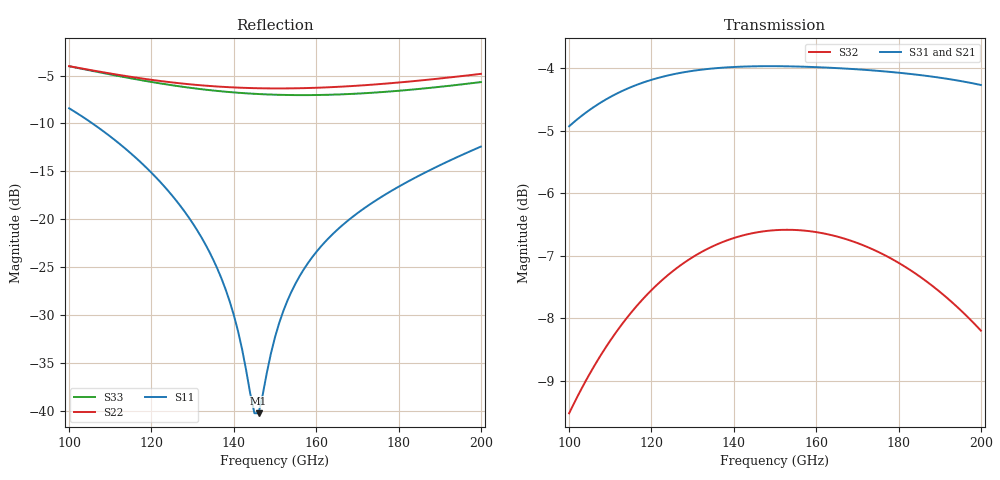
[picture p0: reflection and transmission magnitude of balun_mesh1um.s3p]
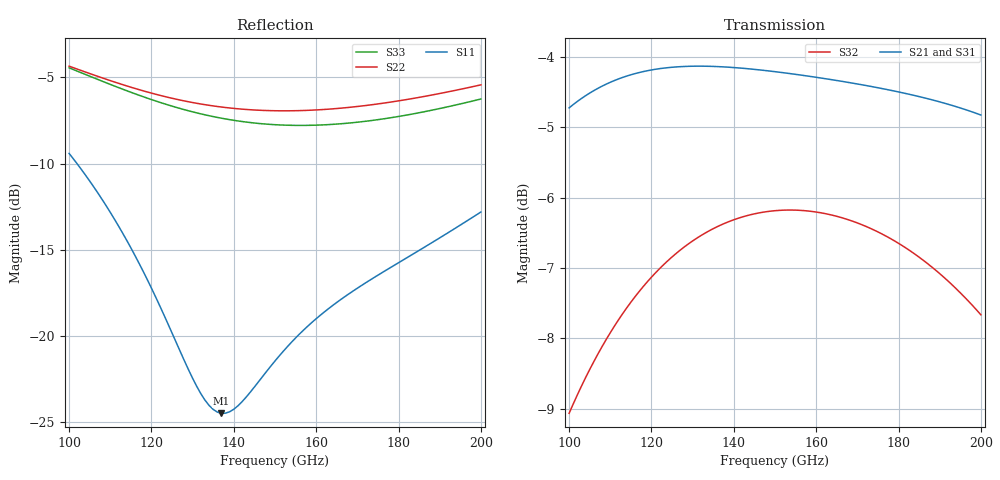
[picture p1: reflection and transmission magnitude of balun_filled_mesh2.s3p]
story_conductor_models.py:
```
#!/usr/bin/env python
"""Plot and numbers for README.md section "Conductor model": surface impedance (the mesh study above) vs. conductors meshed as
volumes: settings['conductor_model'] = 'solve_inside' and 'solve_inside_skin'.

Writes results/plots/story_conductor_models.png (insertion loss and |S11| vs. frequency, target band shaded) and prints
the numbers quoted in README.md. Reference: 'solve_inside_skin', 1 um mesh. DOF and GMRES iterations per
solve from the Palace output of each run.
"""
import os
import numpy as np
import matplotlib
matplotlib.use("Agg")
import matplotlib.pyplot as plt

import story_plots as S

BLUE = "#2a78d6"
RUNS = [  # label, Touchstone file, DOF, iterations per solve, color, line style
    ("surface impedance, 1 µm", "balun_mesh1um.s3p", 678946, None, BLUE, "-"),
    ("solve_inside, 2 µm", "balun_filled_mesh2.s3p", 395498, 30, S.ORANGE, "--"),
    ("solve_inside_skin, 2 µm", "balun_skin_mesh2.s3p", 713252, 37, S.AQUA, "--"),
    ("solve_inside_skin, 1 µm", "balun_skin_mesh1.s3p", 1726254, 26, S.INK, "-"),
]
TABLE = RUNS + [("solve_inside_skin, 3 µm", "balun_skin_mesh3.s3p", 487182, 47, None, None),
                ("solve_inside_skin, 5 µm", "balun_skin_mesh5.s3p", 337192, 70, None, None),
                ("surface impedance, 2 µm", "balun_mesh2um.s3p", 331900, None, None, None)]


def plot():
    fig, axes = plt.subplots(1, 2, figsize=(10, 3.9), sharex=True)
    for label, fname, _, _, color, ls in RUNS:
        ntw = S.load(fname)
        m = S.merits(ntw)
        axes[0].plot(ntw.f / 1e9, m["IL"], color=color, linestyle=ls, linewidth=2, label=label)
        axes[1].plot(ntw.f / 1e9, m["S11"], color=color, linestyle=ls, linewidth=2, label=label)
    for ax, title in zip(axes, ("Insertion loss (dB)", "Input match |S11| (dB)")):
        S.style(ax)
        ax.set_title(title, loc="left", fontsize=11, color=S.INK)
        ax.set_xlabel("Frequency (GHz)", color=S.INK2)
    axes[0].set_ylim(0.8, 1.8)
    axes[0].text(155, 0.97, "target band", transform=axes[0].get_xaxis_transform(), ha="center", fontsize=8, color=S.INK2)
    handles, labels = axes[0].get_legend_handles_labels()
    fig.legend(handles, labels, loc="upper center", ncol=3, frameon=False, fontsize=9)
    fig.tight_layout(rect=(0, 0, 1, 0.84))
    out = os.path.join(S.PLOT_DIR, "story_conductor_models.png")
    fig.savefig(out, dpi=130, facecolor="white")
    plt.close(fig)
    print("wrote", out)


def numbers():
    print(f"\nIn band {S.BAND[0] / 1e9:.0f}-{S.BAND[1] / 1e9:.0f} GHz")
    print(f"{'model':30s} {'DOF':>10s} {'it.':>4s} {'IL min..max':>12s} {'S11 max':>8s} {'S11 null':>9s} {'|amp| max':>9s} {'phase':>11s}")
    for label, fname, dof, it, _, _ in TABLE:
        ntw = S.load(fname)
        m = S.merits(ntw)
        b = (ntw.f >= S.BAND[0]) & (ntw.f <= S.BAND[1])
        print(f"{label:30s} {dof:10,d} {it if it else '-':>4} {m['IL'][b].min():5.2f}..{m['IL'][b].max():5.2f} "
              f"{m['S11'][b].max():8.1f} {ntw.f[np.argmin(m['S11'])] / 1e9:7.0f} G {np.abs(m['amp'][b]).max():9.2f} "
              f"{m['phase'][b].min():5.1f}..{m['phase'][b].max():4.1f}")


if __name__ == "__main__":
    plot()
    numbers()
```
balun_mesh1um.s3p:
! Created with skrf 2.2.0 (http://scikit-rf.org).
# GHz S DB R 50.0
! Port[1] = P1
! Port[2] = P2
! Port[3] = P3
!freq dBS11 angS11 dBS12 angS12 dBS13 angS13
! dBS21 angS21 dBS22 angS22 dBS23 angS23
! dBS31 angS31 dBS32 angS32 dBS33 angS33
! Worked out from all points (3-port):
!   101 points, 100 GHz to 200 GHz, reference 50 ohm
!   strongest paths, dB at 100 GHz, 125 GHz, 150 GHz, 175 GHz, 200 GHz:
!     S31: -4.9, -4.1, -4.0, -4.0, -4.3
!     S21: -4.7, -4.0, -4.0, -4.2, -4.7
!     S32: -9.5, -7.3, -6.6, -6.9, -8.2
!   lowest |S11| = -40.2 dB at 146 GHz (marker M1), VSWR 1.02, Z = 49 - j0.0634 ohm
!   |S11| at or under -10 dB: 105.7 GHz to end of sweep
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100  -8.42 129.6  -4.69 -11.2  -4.93 165.1
     -4.69 -11.2  -4.02 60.0  -9.52 90.8
     -4.93 165.1  -9.52 90.8  -4.03 50.0
131  -21.07 96.3  -3.96 -56.8  -4.04 116.8
     -3.96 -56.8  -5.98 34.2  -6.98 45.7
     -4.04 116.8  -6.98 45.7  -6.37 20.3
146  -40.23 -176.2  -3.97 -76.2  -3.97 96.3
     -3.97 -76.2  -6.33 23.6  -6.62 26.3
     -3.97 96.3  -6.62 26.3  -6.93 8.7
160  -23.42 -117.3  -4.06 -93.3  -3.99 78.1
     -4.06 -93.3  -6.28 13.4  -6.62 9.1
     -3.99 78.1  -6.62 9.1  -7.03 -1.8
200  -12.41 -132.4  -4.68 -141.3  -4.27 27.6
     -4.68 -141.3  -4.83 -20.8  -8.20 -37.9
     -4.27 27.6  -8.20 -37.9  -5.68 -35.1
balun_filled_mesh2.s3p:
! Created with skrf 2.2.0 (http://scikit-rf.org).
# GHz S DB R 50.0
! Port[1] = P1
! Port[2] = P2
! Port[3] = P3
!freq dBS11 angS11 dBS12 angS12 dBS13 angS13
! dBS21 angS21 dBS22 angS22 dBS23 angS23
! dBS31 angS31 dBS32 angS32 dBS33 angS33
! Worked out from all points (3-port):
!   101 points, 100 GHz to 200 GHz, reference 50 ohm
!   strongest paths, dB at 100 GHz, 125 GHz, 150 GHz, 175 GHz, 200 GHz:
!     S21: -4.7, -4.1, -4.2, -4.4, -4.8
!     S31: -5.0, -4.3, -4.3, -4.4, -4.6
!     S32: -9.1, -6.8, -6.2, -6.5, -7.7
!   lowest |S11| = -24.5 dB at 137 GHz (marker M1), VSWR 1.13, Z = 44.5 + j1.24 ohm
!   |S11| at or under -10 dB: 101.9 GHz to end of sweep
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100  -9.42 132.7  -4.72 -11.8  -4.96 164.9
     -4.72 -11.8  -4.36 60.2  -9.07 91.6
     -4.96 164.9  -9.07 91.6  -4.45 49.8
117  -15.79 120.5  -4.22 -37.7  -4.39 137.3
     -4.22 -37.7  -5.72 45.0  -7.34 65.8
     -4.39 137.3  -7.34 65.8  -6.04 32.2
137  -24.49 166.5  -4.14 -64.5  -4.24 108.7
     -4.14 -64.5  -6.72 30.2  -6.39 38.5
     -4.24 108.7  -6.39 38.5  -7.37 15.7
167  -17.71 -145.2  -4.35 -100.2  -4.34 70.6
     -4.35 -100.2  -6.77 7.9  -6.30 1.8
     -4.34 70.6  -6.30 1.8  -7.68 -6.7
200  -12.81 -144.0  -4.83 -138.5  -4.61 30.1
     -4.83 -138.5  -5.44 -21.1  -7.67 -36.7
     -4.61 30.1  -7.67 -36.7  -6.26 -34.7
